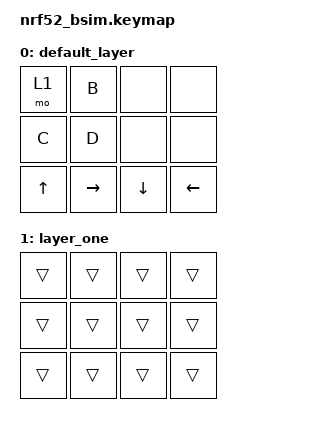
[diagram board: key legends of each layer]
/*
 * Copyright (c) 2026 amgskobo
 * SPDX-License-Identifier: MIT
 *
 * A pad on the peripheral holds a 1x4 tap diamond key on the central across
 * the split link, and the link goes down under it.
 *
 * 6.0 s   A long press at the bottom: DOWN goes down at 6.2 s. From 6.3 s to
 *         9.5 s wideband noise drowns the radio and the split link times
 *         out; the central releases the contact on the pad's behalf, and DOWN
 *         must come up then rather than stay down on the host.
 * 13.0 s  A tap at the top: UP.
 */

#include <behaviors.dtsi>
#include <dt-bindings/zmk/keys.h>
#include <dt-bindings/zmk/kscan_mock.h>

#include "shared.dtsi"

&kscan {
    /delete-property/ exit-after;
    events = <>;
};

&split_listener {
    status = "okay";
};

/ {
    chosen {
        zmk,kscan = &composite;
    };

    /* The mock's 2x2 on row 0 and 1, the diamond's four cells on row 2. */
    composite: composite {
        compatible = "zmk,kscan-composite";
        rows = <3>;
        columns = <4>;

        mock {
            kscan = <&kscan>;
        };

        gesture {
            kscan = <&kscan_gesture>;
            row-offset = <2>;
        };
    };

    keymap {
        compatible = "zmk,keymap";

        default_layer {
            bindings = <
            &mo 1  &kp B     &none    &none
            &kp C  &kp D     &none    &none
            &kp UP &kp RIGHT &kp DOWN &kp LEFT>;
        };

        layer_one {
            bindings = <
            &trans &trans &trans &trans
            &trans &trans &trans &trans
            &trans &trans &trans &trans>;
        };
    };
};
